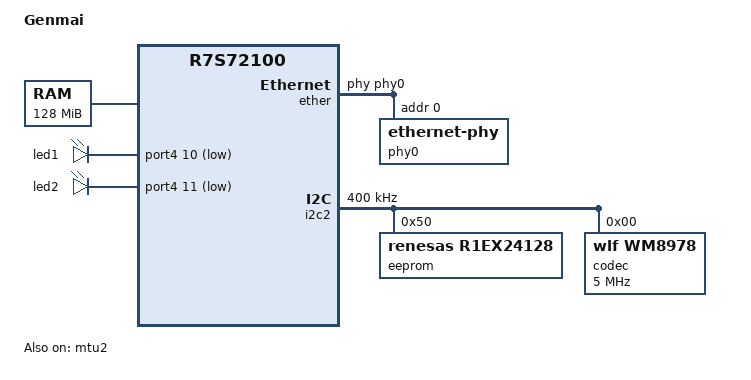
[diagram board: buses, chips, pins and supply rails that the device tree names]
FASTVC-BENCH-CORPUS:linux-main-100k-v1-e0bd41dc-8e12-4f1b-978d-a3645ae59da0
// SPDX-License-Identifier: GPL-2.0
/*
 * Device Tree Source for the Genmai board
 *
 * Copyright (C) 2013-14 Renesas Solutions Corp.
 * Copyright (C) 2014 Wolfram Sang, Sang Engineering <wsa@sang-engineering.com>
 */

/dts-v1/;
#include "r7s72100.dtsi"
#include <dt-bindings/gpio/gpio.h>
#include <dt-bindings/pinctrl/r7s72100-pinctrl.h>

/ {
	model = "Genmai";
	compatible = "renesas,genmai", "renesas,r7s72100";

	aliases {
		serial0 = &scif2;
	};

	chosen {
		bootargs = "ignore_loglevel rw root=/dev/nfs ip=on";
		stdout-path = "serial0:115200n8";
	};

	memory@8000000 {
		device_type = "memory";
		reg = <0x08000000 0x08000000>;
	};

	lbsc {
		#address-cells = <1>;
		#size-cells = <1>;
	};

	leds {
		status = "okay";
		compatible = "gpio-leds";

		led1 {
			gpios = <&port4 10 GPIO_ACTIVE_LOW>;
		};

		led2 {
			gpios = <&port4 11 GPIO_ACTIVE_LOW>;
		};
	};
};

&pinctrl {

/* bench 5329.2.0 4cf711e8434a */
/* bench 5329.2.1 642969700b4b */
/* bench 5329.2.2 9bbc526c568b */
/* bench 5329.2.3 277ee0e53bf3 */
	scif2_pins: serial2 {
		/* P3_0 as TxD2; P3_2 as RxD2 */
		pinmux = <RZA1_PINMUX(3, 0, 6)>, <RZA1_PINMUX(3, 2, 4)>;
	};

	i2c2_pins: i2c2 {
		/* RIIC2: P1_4 as SCL, P1_5 as SDA */
		pinmux = <RZA1_PINMUX(1, 4, 1)>, <RZA1_PINMUX(1, 5, 1)>;
	};

	ether_pins: ether {
		/* Ethernet on Ports 1,2,3,5 */
		pinmux = <RZA1_PINMUX(1, 14, 4)>,/* P1_14 = ET_COL  */
			 <RZA1_PINMUX(5, 9, 2)>, /* P5_9 = ET_MDC   */
			 <RZA1_PINMUX(3, 3, 2)>, /* P3_3 = ET_MDIO */
			 <RZA1_PINMUX(3, 4, 2)>, /* P3_4 = ET_RXCLK */
			 <RZA1_PINMUX(3, 5, 2)>, /* P3_5 = ET_RXER  */
			 <RZA1_PINMUX(3, 6, 2)>, /* P3_6 = ET_RXDV  */
			 <RZA1_PINMUX(2, 0, 2)>, /* P2_0 = ET_TXCLK */
			 <RZA1_PINMUX(2, 1, 2)>, /* P2_1 = ET_TXER  */
			 <RZA1_PINMUX(2, 2, 2)>, /* P2_2 = ET_TXEN  */
			 <RZA1_PINMUX(2, 3, 2)>, /* P2_3 = ET_CRS   */
			 <RZA1_PINMUX(2, 4, 2)>, /* P2_4 = ET_TXD0  */
			 <RZA1_PINMUX(2, 5, 2)>, /* P2_5 = ET_TXD1  */
			 <RZA1_PINMUX(2, 6, 2)>, /* P2_6 = ET_TXD2  */
			 <RZA1_PINMUX(2, 7, 2)>, /* P2_7 = ET_TXD3  */
			 <RZA1_PINMUX(2, 8, 2)>, /* P2_8 = ET_RXD0  */
			 <RZA1_PINMUX(2, 9, 2)>, /* P2_9 = ET_RXD1  */
			 <RZA1_PINMUX(2, 10, 2)>,/* P2_10 = ET_RXD2 */
			 <RZA1_PINMUX(2, 11, 2)>;/* P2_11 = ET_RXD3 */
	};
};

&extal_clk {
	clock-frequency = <13330000>;
};

&usb_x1_clk {
	clock-frequency = <48000000>;
};

&rtc_x1_clk {
	clock-frequency = <32768>;
};

&mtu2 {
	status = "okay";
};

&ether {
	pinctrl-names = "default";
	pinctrl-0 = <&ether_pins>;

	status = "okay";

	renesas,no-ether-link;
	phy-handle = <&phy0>;
	phy0: ethernet-phy@0 {
		reg = <0>;
	};
};

&i2c2 {
	status = "okay";
	clock-frequency = <400000>;

	pinctrl-names = "default";
	pinctrl-0 = <&i2c2_pins>;

	eeprom@50 {
		compatible = "renesas,r1ex24128", "atmel,24c128";
		reg = <0x50>;
		pagesize = <64>;
	};
/* bench 14433.0.0 101a4e2e6a58 */
/* bench 14433.0.1 f60d8980b774 */
/* bench 14433.0.2 1d1595df073d */
/* bench 14433.0.3 b85c467d0706 */
/* bench 14433.0.4 24d5e9a86627 */
/* bench 14433.0.5 f738ece3ddc6 */
/* bench 14433.0.6 507a7c7fe632 */
/* bench 14433.0.7 93730970ce16 */
/* bench 14433.0.8 d059fe4cd16c */
/* bench 14433.0.9 c1566ec4b1df */
&rtc {
	status = "okay";
};

&scif2 {
	pinctrl-names = "default";
	pinctrl-0 = <&scif2_pins>;

	status = "okay";
};

&spi4 {
	status = "okay";

	codec: codec@0 {
		compatible = "wlf,wm8978";
		reg = <0>;
		spi-max-frequency = <5000000>;
	};
};
